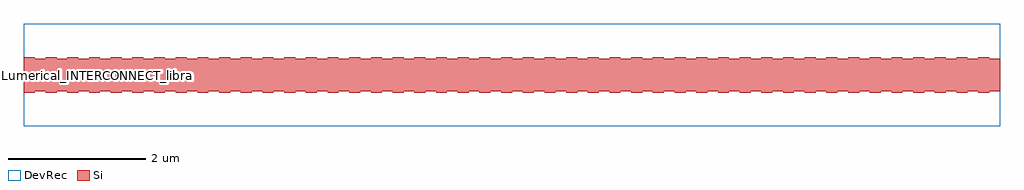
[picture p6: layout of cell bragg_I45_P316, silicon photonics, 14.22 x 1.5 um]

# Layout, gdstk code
import gdstk
lib = gdstk.Library(unit=1e-6, precision=1e-09)
def R(c, l, rs):  # rectangles x0, y0, x1, y1
    for r in rs: c.add(gdstk.rectangle(r[:2], r[2:], *l))
def A(c, l, x, y, w, h, nx, ny, dx, dy):  # array of equal rectangles
    R(c, l, [(x+i*dx, y+j*dy, x+i*dx+w, y+j*dy+h) for i in range(nx) for j in range(ny)])
Si = (1, 0)
DevRec = (68, 0)

bragg_i45_p316 = lib.new_cell('bragg_I45_P316')
A(bragg_i45_p316, Si, 0, -0.26, 0.158, 0.26, 45, 2, 0.316, 0.26)
A(bragg_i45_p316, Si, 0.158, -0.24, 0.158, 0.24, 45, 2, 0.316, 0.24)
R(bragg_i45_p316, DevRec, [(0,-0.75,14.22,0.75)])
bragg_i45_p316.add(gdstk.Label('Lumerical_INTERCONNECT_library=Design kits/ebeam', (0,0), layer=68, texttype=0))
bragg_i45_p316.add(gdstk.Label('Component=ebeam_bragg_te1550', (1.422,0), layer=68, texttype=0))
bragg_i45_p316.add(gdstk.Label('Spice_param:number_of_periods=45 grating_period=3.16e-07 corrugation_width=2e-08 misalignment=0 sinusoidal=0', (1.58,0), layer=68, texttype=0))

lib.write_gds('bragg_I45_P316.gds')
